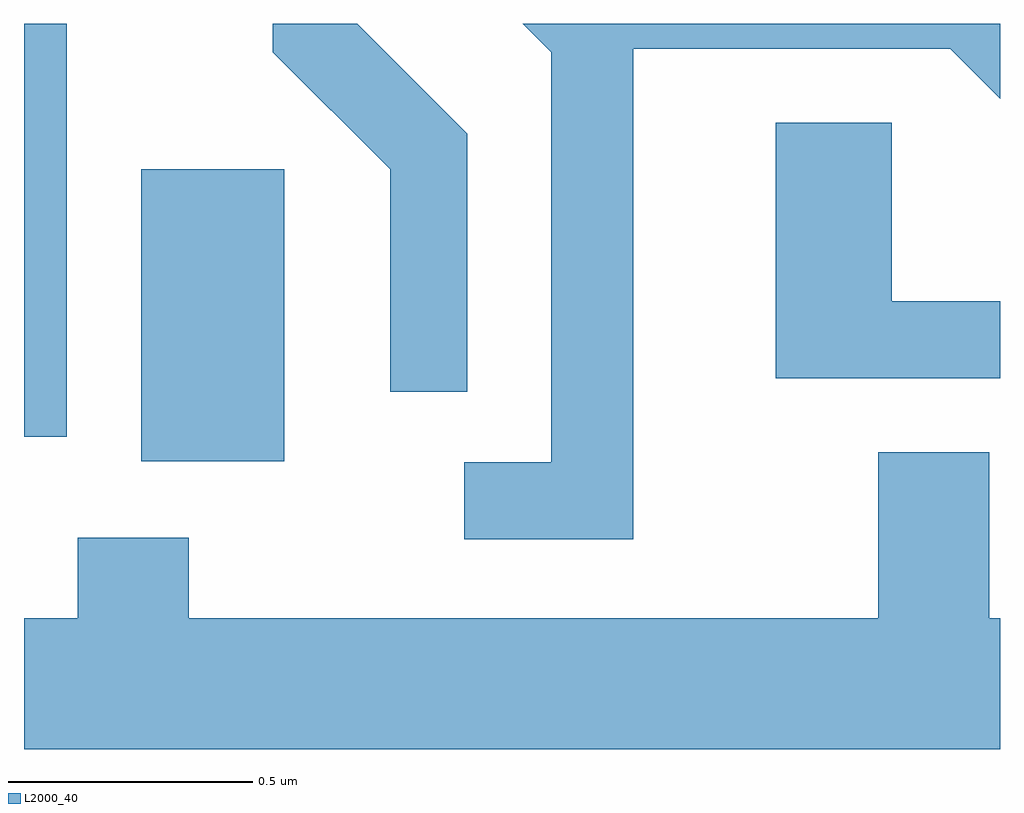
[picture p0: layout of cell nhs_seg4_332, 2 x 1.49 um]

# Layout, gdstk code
import gdstk
lib = gdstk.Library(unit=1e-6, precision=1e-09)
def R(c, l, rs):  # rectangles x0, y0, x1, y1
    for r in rs: c.add(gdstk.rectangle(r[:2], r[2:], *l))
def P(c, l, *ps):  # polygons
    for p in ps: c.add(gdstk.Polygon(p, *l))
L2000_40 = (2000, 40)

nhs_seg4_332 = lib.new_cell('nhs_seg4_332')
R(nhs_seg4_332, L2000_40, [(187.851,1313.086,188.144,1313.684), (187.611,1313.136,187.699,1313.982)])
P(nhs_seg4_332, L2000_40, [(188.519,1313.757),(188.294,1313.982),(188.121,1313.982),(188.121,1313.924),(188.361,1313.684),(188.361,1313.228),(188.519,1313.228)],
  [(188.859,1313.931),(189.509,1313.931),(189.611,1313.829),(189.611,1313.982),(188.633,1313.982),(188.691,1313.924),(188.691,1313.084),(188.513,1313.084),(188.513,1312.926),(188.859,1312.926)],
  [(189.611,1313.414),(189.389,1313.414),(189.389,1313.779),(189.151,1313.779),(189.151,1313.256),(189.611,1313.256)],
  [(189.611,1312.764),(189.589,1312.764),(189.589,1313.104),(189.361,1313.104),(189.361,1312.764),(187.949,1312.764),(187.949,1312.929),(187.721,1312.929),(187.721,1312.764),(187.611,1312.764),(187.611,1312.496),(189.611,1312.496)])

lib.write_gds('nhs_seg4_332.gds')
